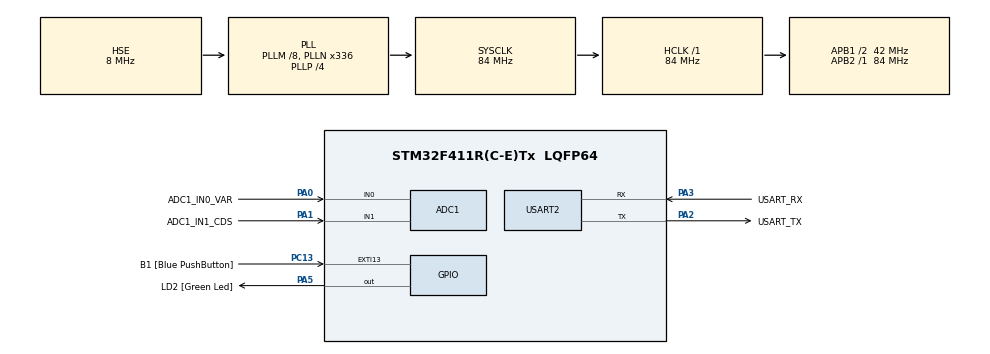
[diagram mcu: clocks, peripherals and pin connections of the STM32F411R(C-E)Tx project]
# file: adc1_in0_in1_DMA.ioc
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ADC1.Channel-0\#ChannelRegularConversion=ADC_CHANNEL_0
ADC1.Channel-1\#ChannelRegularConversion=ADC_CHANNEL_1
ADC1.ClockPrescaler=ADC_CLOCK_SYNC_PCLK_DIV6
ADC1.ContinuousConvMode=DISABLE
ADC1.DMAContinuousRequests=ENABLE
ADC1.NbrOfConversion=2
ADC1.NbrOfConversionFlag=1
ADC1.Rank-0\#ChannelRegularConversion=1
ADC1.Rank-1\#ChannelRegularConversion=2
ADC1.SamplingTime-0\#ChannelRegularConversion=ADC_SAMPLETIME_480CYCLES
ADC1.SamplingTime-1\#ChannelRegularConversion=ADC_SAMPLETIME_480CYCLES
ADC1.ScanConvMode=ENABLE
ADC1.master=1
Dma.ADC1.0.Direction=DMA_PERIPH_TO_MEMORY
Dma.ADC1.0.FIFOMode=DMA_FIFOMODE_DISABLE
Dma.ADC1.0.Instance=DMA2_Stream0
Dma.ADC1.0.MemDataAlignment=DMA_MDATAALIGN_HALFWORD
Dma.ADC1.0.MemInc=DMA_MINC_ENABLE
Dma.ADC1.0.Mode=DMA_NORMAL
Dma.ADC1.0.PeriphDataAlignment=DMA_PDATAALIGN_HALFWORD
Dma.ADC1.0.PeriphInc=DMA_PINC_DISABLE
Dma.ADC1.0.Priority=DMA_PRIORITY_LOW
Dma.Request0=ADC1
Mcu.Family=STM32F4
Mcu.Name=STM32F411R(C-E)Tx
Mcu.Package=LQFP64
NVIC.DMA2_Stream0_IRQn=true\:0\:0\:false\:false\:true\:false\:true\:true
NVIC.PriorityGroup=NVIC_PRIORITYGROUP_0
PA0-WKUP.GPIO_Label=ADC1_IN0_VAR
PA0-WKUP.Signal=ADCx_IN0
PA1.GPIO_Label=ADC1_IN1_CDS
PA1.Signal=ADCx_IN1
PA13.GPIO_Label=TMS
PA13.Mode=Serial_Wire
PA13.Signal=SYS_JTMS-SWDIO
PA14.GPIO_Label=TCK
PA14.Mode=Serial_Wire
PA14.Signal=SYS_JTCK-SWCLK
PA2.GPIO_Label=USART_TX
PA2.Mode=Asynchronous
PA2.Signal=USART2_TX
PA3.GPIO_Label=USART_RX
PA3.Mode=Asynchronous
PA3.Signal=USART2_RX
PA5.GPIO_Label=LD2 [Green Led]
PA5.Signal=GPIO_Output
PB3.GPIO_Label=SWO
PB3.Signal=SYS_JTDO-SWO
PC13-ANTI_TAMP.GPIO_Label=B1 [Blue PushButton]
PC13-ANTI_TAMP.GPIO_ModeDefaultEXTI=GPIO_MODE_IT_FALLING
PC13-ANTI_TAMP.Signal=GPXTI13
PC14-OSC32_IN.Signal=RCC_OSC32_IN
PC15-OSC32_OUT.Signal=RCC_OSC32_OUT
PH0\ -\ OSC_IN.Mode=HSE-External-Oscillator
PH0\ -\ OSC_IN.Signal=RCC_OSC_IN
PH1\ -\ OSC_OUT.Mode=HSE-External-Oscillator
PH1\ -\ OSC_OUT.Signal=RCC_OSC_OUT
ProjectManager.HeapSize=0x200
ProjectManager.StackSize=0x400
ProjectManager.TargetToolchain=STM32CubeIDE
RCC.48MHZClocksFreq_Value=84000000
RCC.AHBFreq_Value=84000000
RCC.APB1CLKDivider=RCC_HCLK_DIV2
RCC.APB1Freq_Value=42000000
RCC.APB1TimFreq_Value=84000000
RCC.APB2Freq_Value=84000000
RCC.APB2TimFreq_Value=84000000
RCC.CortexFreq_Value=84000000
RCC.FLatency-AdvancedSettings=FLASH_LATENCY_2
RCC.HCLKFreq_Value=84000000
RCC.HSE_VALUE=8000000
RCC.HSI_VALUE=16000000
RCC.LSE_VALUE=32768
RCC.PLLM=8
RCC.PLLN=336
RCC.PLLP=RCC_PLLP_DIV4
RCC.PLLSourceVirtual=RCC_PLLSOURCE_HSE
RCC.SYSCLKFreq_VALUE=84000000
RCC.SYSCLKSource=RCC_SYSCLKSOURCE_PLLCLK
RCC.VCOOutputFreq_Value=336000000
SH.ADCx_IN0.0=ADC1_IN0,IN0
SH.ADCx_IN1.0=ADC1_IN1,IN1
USART2.VirtualMode=VM_ASYNC
board=NUCLEO-F411RE

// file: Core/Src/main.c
/* USER CODE BEGIN Header */
/**
  ******************************************************************************
  * @file           : main.c
  * @brief          : Main program body
  ******************************************************************************
  * @attention
  *
  * Copyright (c) 2024 STMicroelectronics.
  * All rights reserved.
  *
  * This software is licensed under terms that can be found in the LICENSE file
  * in the root directory of this software component.
  * If no LICENSE file comes with this software, it is provided AS-IS.
  *
  ******************************************************************************
  */
/* USER CODE END Header */
#include "main.h"

/* USER CODE BEGIN PD */
#ifdef __GNUC__
/* With GCC, small printf (option LD Linker->Libraries->Small printf
   set to 'Yes') calls __io_putchar() */
#define PUTCHAR_PROTOTYPE int __io_putchar(int ch)
#else
#define PUTCHAR_PROTOTYPE int fputc(int ch, FILE *f)
#endif /* __GNUC__ */
/* USER CODE END PD */

ADC_HandleTypeDef hadc1;
DMA_HandleTypeDef hdma_adc1;

UART_HandleTypeDef huart2;

/* USER CODE BEGIN PV */
__IO uint16_t ADCxConvertValue[2]={0};
__IO int adcFlag=0;
/* USER CODE END PV */

void SystemClock_Config(void);
static void MX_GPIO_Init(void);
static void MX_DMA_Init(void);
static void MX_USART2_UART_Init(void);
static void MX_ADC1_Init(void);

int main(void)
{

  /* MCU Configuration--------------------------------------------------------*/

  /* Reset of all peripherals, Initializes the Flash interface and the Systick. */
  HAL_Init();

  /* Configure the system clock */
  SystemClock_Config();

  /* Initialize all configured peripherals */
  MX_GPIO_Init();
  MX_DMA_Init();
  MX_USART2_UART_Init();
  MX_ADC1_Init();
  /* USER CODE BEGIN 2 */
  printf("start main() - adc DMA\r\n");
  if(HAL_ADC_Start_DMA(&hadc1,(uint32_t *)ADCxConvertValue,2) != HAL_OK)
  {
	  Error_Handler();
  }
  /* USER CODE END 2 */

  /* Infinite loop */
  /* USER CODE BEGIN WHILE */
  while (1)
  {
	  if(adcFlag)
	  {
		  adcFlag = 0;
		  printf("VAR=%4d, CDS=%4d\r\n",ADCxConvertValue[0],ADCxConvertValue[1]);
		  if(HAL_ADC_Start_DMA(&hadc1,(uint32_t *)ADCxConvertValue,2) != HAL_OK)
		  {
			  Error_Handler();
		  }
	  }
//	  HAL_Delay(500);
    /* USER CODE END WHILE */

  }
}

void SystemClock_Config(void)
{
  RCC_OscInitTypeDef RCC_OscInitStruct = {0};
  RCC_ClkInitTypeDef RCC_ClkInitStruct = {0};

  /** Configure the main internal regulator output voltage
  */
  __HAL_RCC_PWR_CLK_ENABLE();
  __HAL_PWR_VOLTAGESCALING_CONFIG(PWR_REGULATOR_VOLTAGE_SCALE1);

  /** Initializes the RCC Oscillators according to the specified parameters
  * in the RCC_OscInitTypeDef structure.
  */
  RCC_OscInitStruct.OscillatorType = RCC_OSCILLATORTYPE_HSE;
  RCC_OscInitStruct.HSEState = RCC_HSE_ON;
  RCC_OscInitStruct.PLL.PLLState = RCC_PLL_ON;
  RCC_OscInitStruct.PLL.PLLSource = RCC_PLLSOURCE_HSE;
  RCC_OscInitStruct.PLL.PLLM = 8;
  RCC_OscInitStruct.PLL.PLLN = 336;
  RCC_OscInitStruct.PLL.PLLP = RCC_PLLP_DIV4;
  RCC_OscInitStruct.PLL.PLLQ = 4;
  if (HAL_RCC_OscConfig(&RCC_OscInitStruct) != HAL_OK)
  {
    Error_Handler();
  }

  /** Initializes the CPU, AHB and APB buses clocks
  */
  RCC_ClkInitStruct.ClockType = RCC_CLOCKTYPE_HCLK|RCC_CLOCKTYPE_SYSCLK
                              |RCC_CLOCKTYPE_PCLK1|RCC_CLOCKTYPE_PCLK2;
  RCC_ClkInitStruct.SYSCLKSource = RCC_SYSCLKSOURCE_PLLCLK;
  RCC_ClkInitStruct.AHBCLKDivider = RCC_SYSCLK_DIV1;
  RCC_ClkInitStruct.APB1CLKDivider = RCC_HCLK_DIV2;
  RCC_ClkInitStruct.APB2CLKDivider = RCC_HCLK_DIV1;

  if (HAL_RCC_ClockConfig(&RCC_ClkInitStruct, FLASH_LATENCY_2) != HAL_OK)
  {
    Error_Handler();
  }
}

static void MX_ADC1_Init(void)
{

  ADC_ChannelConfTypeDef sConfig = {0};

  /** Configure the global features of the ADC (Clock, Resolution, Data Alignment and number of conversion)
  */
  hadc1.Instance = ADC1;
  hadc1.Init.ClockPrescaler = ADC_CLOCK_SYNC_PCLK_DIV6;
  hadc1.Init.Resolution = ADC_RESOLUTION_12B;
  hadc1.Init.ScanConvMode = ENABLE;
  hadc1.Init.ContinuousConvMode = DISABLE;
  hadc1.Init.DiscontinuousConvMode = DISABLE;
  hadc1.Init.ExternalTrigConvEdge = ADC_EXTERNALTRIGCONVEDGE_NONE;
  hadc1.Init.ExternalTrigConv = ADC_SOFTWARE_START;
  hadc1.Init.DataAlign = ADC_DATAALIGN_RIGHT;
  hadc1.Init.NbrOfConversion = 2;
  hadc1.Init.DMAContinuousRequests = ENABLE;
  hadc1.Init.EOCSelection = ADC_EOC_SINGLE_CONV;
  if (HAL_ADC_Init(&hadc1) != HAL_OK)
  {
    Error_Handler();
  }

  /** Configure for the selected ADC regular channel its corresponding rank in the sequencer and its sample time.
  */
  sConfig.Channel = ADC_CHANNEL_0;
  sConfig.Rank = 1;
  sConfig.SamplingTime = ADC_SAMPLETIME_480CYCLES;
  if (HAL_ADC_ConfigChannel(&hadc1, &sConfig) != HAL_OK)
  {
    Error_Handler();
  }

  /** Configure for the selected ADC regular channel its corresponding rank in the sequencer and its sample time.
  */
  sConfig.Channel = ADC_CHANNEL_1;
  sConfig.Rank = 2;
  if (HAL_ADC_ConfigChannel(&hadc1, &sConfig) != HAL_OK)
  {
    Error_Handler();
  }

}

static void MX_USART2_UART_Init(void)
{

  huart2.Instance = USART2;
  huart2.Init.BaudRate = 115200;
  huart2.Init.WordLength = UART_WORDLENGTH_8B;
  huart2.Init.StopBits = UART_STOPBITS_1;
  huart2.Init.Parity = UART_PARITY_NONE;
  huart2.Init.Mode = UART_MODE_TX_RX;
  huart2.Init.HwFlowCtl = UART_HWCONTROL_NONE;
  huart2.Init.OverSampling = UART_OVERSAMPLING_16;
  if (HAL_UART_Init(&huart2) != HAL_OK)
  {
    Error_Handler();
  }

}

static void MX_DMA_Init(void)
{

  /* DMA controller clock enable */
  __HAL_RCC_DMA2_CLK_ENABLE();

  /* DMA interrupt init */
  /* DMA2_Stream0_IRQn interrupt configuration */
  HAL_NVIC_SetPriority(DMA2_Stream0_IRQn, 0, 0);
  HAL_NVIC_EnableIRQ(DMA2_Stream0_IRQn);

}

static void MX_GPIO_Init(void)
{
  GPIO_InitTypeDef GPIO_InitStruct = {0};

  /* GPIO Ports Clock Enable */
  __HAL_RCC_GPIOC_CLK_ENABLE();
  __HAL_RCC_GPIOH_CLK_ENABLE();
  __HAL_RCC_GPIOA_CLK_ENABLE();
  __HAL_RCC_GPIOB_CLK_ENABLE();

  /*Configure GPIO pin Output Level */
  HAL_GPIO_WritePin(LD2_GPIO_Port, LD2_Pin, GPIO_PIN_RESET);

  /*Configure GPIO pin : B1_Pin */
  GPIO_InitStruct.Pin = B1_Pin;
  GPIO_InitStruct.Mode = GPIO_MODE_IT_FALLING;
  GPIO_InitStruct.Pull = GPIO_NOPULL;
  HAL_GPIO_Init(B1_GPIO_Port, &GPIO_InitStruct);

  /*Configure GPIO pin : LD2_Pin */
  GPIO_InitStruct.Pin = LD2_Pin;
  GPIO_InitStruct.Mode = GPIO_MODE_OUTPUT_PP;
  GPIO_InitStruct.Pull = GPIO_NOPULL;
  GPIO_InitStruct.Speed = GPIO_SPEED_FREQ_LOW;
  HAL_GPIO_Init(LD2_GPIO_Port, &GPIO_InitStruct);

}

/* USER CODE BEGIN 4 */
/**
  * @brief  Retargets the C library printf function to the USART.
  * @param  None
  * @retval None
  */
PUTCHAR_PROTOTYPE
{
  /* Place your implementation of fputc here */
  /* e.g. write a character to the USART6 and Loop until the end of transmission */
  HAL_UART_Transmit(&huart2, (uint8_t *)&ch, 1, 0xFFFF);

  return ch;
}
void HAL_ADC_ConvCpltCallback(ADC_HandleTypeDef *AdcHandle)
{
	adcFlag = 1;
}
/* USER CODE END 4 */

void Error_Handler(void)
{
  __disable_irq();
  while (1)
  {
  }
}
